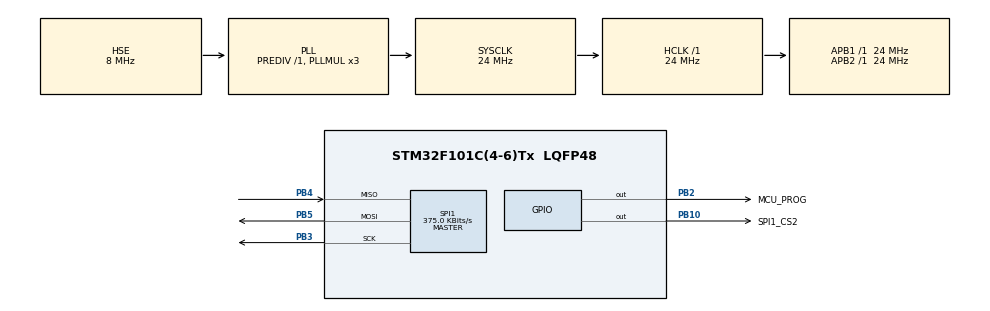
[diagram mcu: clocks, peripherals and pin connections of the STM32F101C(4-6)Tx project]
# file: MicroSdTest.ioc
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Mcu.Family=STM32F1
RCC.PLLSourceVirtual=RCC_PLLSOURCE_HSE
PD1-OSC_OUT.Mode=HSE-External-Oscillator
SPI1.VirtualType=VM_MASTER
PD0-OSC_IN.Signal=RCC_OSC_IN
RCC.SYSCLKSource=RCC_SYSCLKSOURCE_PLLCLK
ProjectManager.StackSize=0x400
PD1-OSC_OUT.Signal=RCC_OSC_OUT
RCC.ADCPresc=RCC_ADCPCLK2_DIV4
PA13.Signal=SYS_JTMS-SWDIO
ProjectManager.TargetToolchain=STM32CubeIDE
PB10.GPIO_Label=SPI1_CS2
SPI1.Direction=SPI_DIRECTION_2LINES
RCC.HCLKFreq_Value=24000000
SPI1.CalculateBaudRate=375.0 KBits/s
RCC.AHBFreq_Value=24000000
PB10.Signal=GPIO_Output
PD0-OSC_IN.Mode=HSE-External-Oscillator
PB2.Signal=GPIO_Output
PB3.Mode=Full_Duplex_Master
board=custom
RCC.PLLMUL=RCC_PLL_MUL3
RCC.APB2Freq_Value=24000000
PB4.Mode=Full_Duplex_Master
SPI1.Mode=SPI_MODE_MASTER
PA14.Mode=Serial_Wire
PB5.Mode=Full_Duplex_Master
PA13.Mode=Serial_Wire
Mcu.Name=STM32F101C(4-6)Tx
PB3.Signal=SPI1_SCK
RCC.SYSCLKFreq_VALUE=24000000
Mcu.Package=LQFP48
PB5.Signal=SPI1_MOSI
PA14.Signal=SYS_JTCK-SWCLK
PB2.GPIO_Label=MCU_PROG
ProjectManager.HeapSize=0x200
NVIC.PriorityGroup=NVIC_PRIORITYGROUP_4
RCC.APB1TimFreq_Value=24000000
RCC.APB1Freq_Value=24000000
SPI1.BaudRatePrescaler=SPI_BAUDRATEPRESCALER_64
PB4.Signal=SPI1_MISO

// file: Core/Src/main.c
/* USER CODE BEGIN Header */
/**
  ******************************************************************************
  * @file           : main.c
  * @brief          : Main program body
  ******************************************************************************
  * @attention
  *
  * <h2><center>&copy; Copyright (c) 2021 STMicroelectronics.
  * All rights reserved.</center></h2>
  *
  * This software component is licensed by ST under BSD 3-Clause license,
  * the "License"; You may not use this file except in compliance with the
  * License. You may obtain a copy of the License at:
  *                        opensource.org/licenses/BSD-3-Clause
  *
  ******************************************************************************
  */
/* USER CODE END Header */
#include "main.h"
#include "spi.h"
#include "gpio.h"

/* USER CODE BEGIN Includes */
#include "../../sdcard/sdcard.h"
/* USER CODE END Includes */

void SystemClock_Config(void);
/* USER CODE BEGIN PFP */
void MicroSd_Test(void);
/* USER CODE END PFP */

/* USER CODE BEGIN 0 */

void MicroSd_Test(void)
{
    // Init microSD in loop
    int code = 0;
    do
    {
        code = SDCARD_Init();
    } while (code != 0);

    // Get total number of blocks
    uint32_t blocksNum;
    code = SDCARD_GetBlocksNumber(&blocksNum);
    if(code < 0)
    {
        return;
    }

    // Write single block filed with counter from 0x00 addr
    uint32_t startBlockAddr = 0x00;
    uint32_t blockAddr = startBlockAddr;
    uint32_t block[128];

    for (int i = 0; i < 128; i++)
    {
        block[i] = i;
    }

    code = SDCARD_WriteSingleBlock(blockAddr, (uint8_t*)block);
    if(code < 0)
    {
        return;
    }

    // Read single block from 0x00 addr
    memset(block, 0, sizeof(block));
    code = SDCARD_ReadSingleBlock(blockAddr, (uint8_t*)block);
    if(code < 0)
    {
        return;
    }
/*
    // Write multiple blocks filed with counter from 0x00 addr
    code = SDCARD_WriteBegin(blockAddr);
    if(code < 0)
    {
        return;
    }

    for(int i = 0; i < 3; i++)
    {

        for (int j = 0; j < 512; j++)
        {
            block[j] = j*i;
        }

        code = SDCARD_WriteData(block);
        if(code < 0)
        {
            return;
        }
    }

    code = SDCARD_WriteEnd();
    if(code < 0)
    {
        return;
    }

    // Read multiple blocks from 0x00 addr
    memset(block, 0, sizeof(block));

    code = SDCARD_ReadBegin(blockAddr);
    if(code < 0)
    {
        return;
    }

    for(int i = 0; i < 3; i++)
    {
        code = SDCARD_ReadData(block);
        if(code < 0)
        {
            return;
        }
    }

    code = SDCARD_ReadEnd();
    if(code < 0)
    {
        return;
    }
*/
}

/* USER CODE END 0 */

int main(void)
{

  /* MCU Configuration--------------------------------------------------------*/

  /* Reset of all peripherals, Initializes the Flash interface and the Systick. */
  HAL_Init();

  /* Configure the system clock */
  SystemClock_Config();

  /* Initialize all configured peripherals */
  MX_GPIO_Init();
  MX_SPI1_Init();
  /* USER CODE BEGIN 2 */
  MicroSd_Test();
  /* USER CODE END 2 */

  /* Infinite loop */
  while (1)
  {

  }
}

void SystemClock_Config(void)
{
  RCC_OscInitTypeDef RCC_OscInitStruct = {0};
  RCC_ClkInitTypeDef RCC_ClkInitStruct = {0};

  /** Initializes the RCC Oscillators according to the specified parameters
  * in the RCC_OscInitTypeDef structure.
  */
  RCC_OscInitStruct.OscillatorType = RCC_OSCILLATORTYPE_HSE;
  RCC_OscInitStruct.HSEState = RCC_HSE_ON;
  RCC_OscInitStruct.HSEPredivValue = RCC_HSE_PREDIV_DIV1;
  RCC_OscInitStruct.HSIState = RCC_HSI_ON;
  RCC_OscInitStruct.PLL.PLLState = RCC_PLL_ON;
  RCC_OscInitStruct.PLL.PLLSource = RCC_PLLSOURCE_HSE;
  RCC_OscInitStruct.PLL.PLLMUL = RCC_PLL_MUL3;
  if (HAL_RCC_OscConfig(&RCC_OscInitStruct) != HAL_OK)
  {
    Error_Handler();
  }
  /** Initializes the CPU, AHB and APB buses clocks
  */
  RCC_ClkInitStruct.ClockType = RCC_CLOCKTYPE_HCLK|RCC_CLOCKTYPE_SYSCLK
                              |RCC_CLOCKTYPE_PCLK1|RCC_CLOCKTYPE_PCLK2;
  RCC_ClkInitStruct.SYSCLKSource = RCC_SYSCLKSOURCE_PLLCLK;
  RCC_ClkInitStruct.AHBCLKDivider = RCC_SYSCLK_DIV1;
  RCC_ClkInitStruct.APB1CLKDivider = RCC_HCLK_DIV1;
  RCC_ClkInitStruct.APB2CLKDivider = RCC_HCLK_DIV1;

  if (HAL_RCC_ClockConfig(&RCC_ClkInitStruct, FLASH_LATENCY_0) != HAL_OK)
  {
    Error_Handler();
  }
}

void Error_Handler(void)
{
  __disable_irq();
  while (1)
  {
  }
}

/************************ (C) COPYRIGHT STMicroelectronics *****END OF FILE****/
